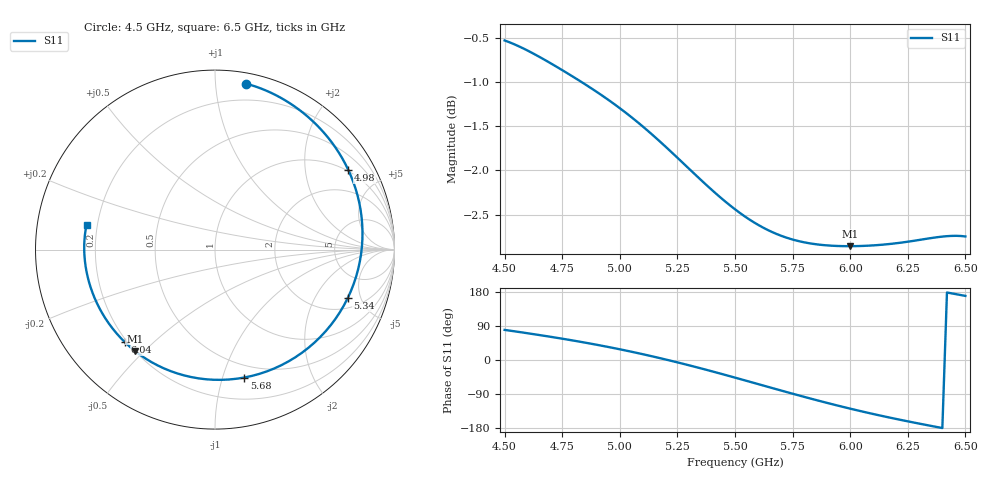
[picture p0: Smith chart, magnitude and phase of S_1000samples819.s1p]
! TOUCHSTONE file generated by CST MICROWAVE STUDIO
! Date and time: Sat Oct 29 12:11:33 2022
! Project name: L.cst
! Parameters = {Di=1.27; Epsilon_r=1.56; InnerDiameter=1.27; Length=2; Lf=10; Lg=60; OuterConductorThickness=0.2921; OuterDiameter=3.6; Wf=3; Wp=41.2; de=1.5; df=6.8; g=0.8; gx=3.09477; gy=1.72745; h=2.34; hf=1.524; px=10.4287; py=10.1548; w=9.7; wx=7.33395; wy=8.42738}
! Header version: 2018
! Port assignment regex: !\s*Touchstone port\s*([0-9]+)\s*=\s*(CST MWS port|CST DS port)\s*([0-9]+|Zmin|Zmax)\s*\(\"(.*)\"\)(\s*mode\s*([0-9]+))?.*
! Touchstone port assignment:
! Touchstone port 1 = CST MWS port 1 ("")
# GHz S DB R 50
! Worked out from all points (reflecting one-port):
!   101 points, 4.5 GHz to 6.5 GHz, reference 50 ohm
!   lowest |S11| = -2.9 dB at 6 GHz (marker M1), VSWR 6.13, Z = 10 - j23.4 ohm
!   phase of S11 starts at 79 deg and turns -270 deg over the sweep
!   S11 on the Smith chart (normalised r, x): 4.5 GHz: 0.08, +1.20; 4.98 GHz: 0.97, +3.39; 5.34 GHz: 2.68, -3.82; 5.68 GHz: 0.38, -1.18; 6.04 GHz: 0.19, -0.41; 6.5 GHz: 0.16, +0.09
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4.5  -0.53 79.4
4.62  -0.67 68.7
4.7  -0.79 61.2
4.76  -0.88 55.2
4.88  -1.08 42.4
4.98  -1.26 30.7
5  -1.30 28.3
5.08  -1.46 17.9
5.14  -1.60 9.8
5.2  -1.74 1.2
5.26  -1.88 -7.7
5.34  -2.08 -20.2
5.42  -2.27 -33.1
5.5  -2.44 -46.5
5.56  -2.55 -56.7
5.6  -2.62 -63.5
5.68  -2.72 -77.1
5.76  -2.79 -90.6
5.82  -2.82 -100.5
5.88  -2.84 -110.1
5.94  -2.86 -119.4
6  -2.86 -128.4
6.04  -2.86 -134.2
6.14  -2.84 -147.9
6.2  -2.82 -155.6
6.26  -2.80 -163.1
6.38  -2.76 -177.3
6.5  -2.75 169.1
